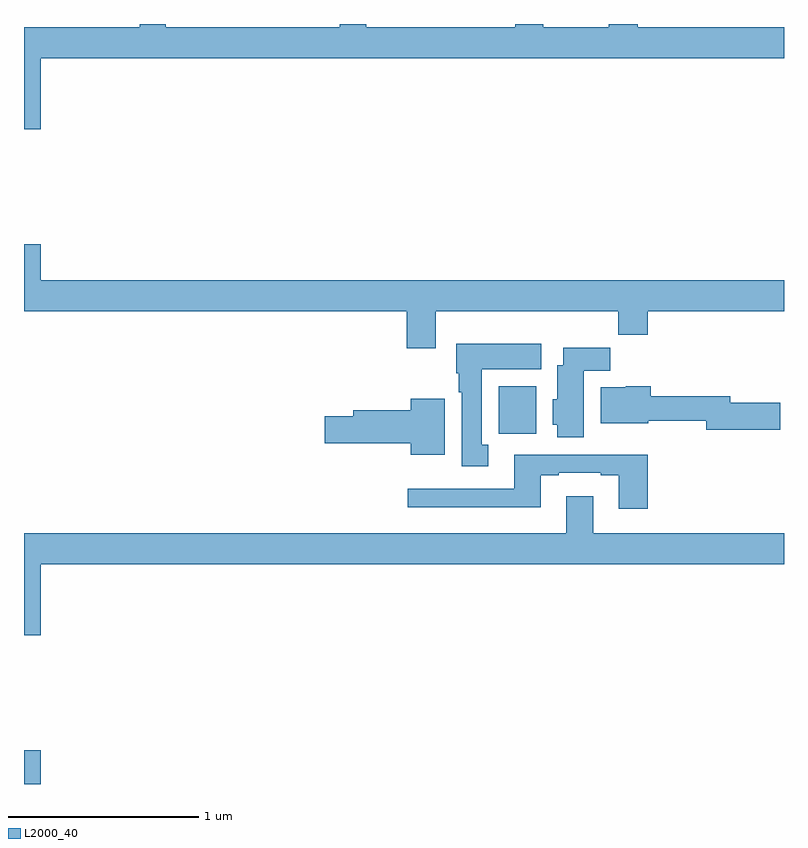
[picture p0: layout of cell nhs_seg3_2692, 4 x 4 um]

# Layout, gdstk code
import gdstk
lib = gdstk.Library(unit=1e-6, precision=1e-09)
def R(c, l, rs):  # rectangles x0, y0, x1, y1
    for r in rs: c.add(gdstk.rectangle(r[:2], r[2:], *l))
def P(c, l, *ps):  # polygons
    for p in ps: c.add(gdstk.Polygon(p, *l))
L2000_40 = (2000, 40)

nhs_seg3_2692 = lib.new_cell('nhs_seg3_2692')
R(nhs_seg3_2692, L2000_40, [(249,726.4,249.088,726.577), (251.499,728.244,251.695,728.494)])
P(nhs_seg3_2692, L2000_40, [(249.088,730.22),(253,730.22),(253,730.384),(252.23,730.384),(252.23,730.4),(252.077,730.4),(252.077,730.384),(251.733,730.384),(251.733,730.4),(251.585,730.4),(251.585,730.384),(250.801,730.384),(250.801,730.4),(250.661,730.4),(250.661,730.384),(249.747,730.384),(249.747,730.4),(249.609,730.4),(249.609,730.384),(249,730.384),(249,729.846),(249.088,729.846)],
  [(251.167,728.888),(252.127,728.888),(252.127,728.764),(252.284,728.764),(252.284,728.888),(253,728.888),(253,729.052),(249.088,729.052),(249.088,729.241),(249,729.241),(249,728.888),(251.015,728.888),(251.015,728.694),(251.167,728.694)],
  [(251.443,728.185),(251.41,728.185),(251.41,728.582),(251.722,728.582),(251.722,728.716),(251.276,728.716),(251.276,728.562),(251.288,728.562),(251.288,728.462),(251.303,728.462),(251.303,728.073),(251.443,728.073)],
  [(251.947,728.576),(252.086,728.576),(252.086,728.695),(251.837,728.695),(251.837,728.605),(251.807,728.605),(251.807,728.424),(251.783,728.424),(251.783,728.292),(251.807,728.292),(251.807,728.225),(251.947,728.225)],
  [(252.979,728.406),(252.718,728.406),(252.718,728.44),(252.299,728.44),(252.299,728.494),(252.168,728.494),(252.168,728.488),(252.035,728.488),(252.035,728.3),(252.286,728.3),(252.286,728.311),(252.59,728.311),(252.59,728.264),(252.979,728.264)],
  [(251.215,728.428),(251.036,728.428),(251.036,728.366),(250.733,728.366),(250.733,728.336),(250.584,728.336),(250.584,728.194),(251.036,728.194),(251.036,728.132),(251.215,728.132)],
  [(252.284,728.134),(252.039,728.134),(252.039,728.133),(251.579,728.133),(251.579,727.953),(251.019,727.953),(251.019,727.856),(251.719,727.856),(251.719,728.025),(251.815,728.025),(251.815,728.037),(252.035,728.037),(252.035,728.025),(252.131,728.025),(252.131,727.848),(252.284,727.848)],
  [(249.088,727.556),(253,727.556),(253,727.72),(251.995,727.72),(251.995,727.915),(251.855,727.915),(251.855,727.72),(249,727.72),(249,727.182),(249.088,727.182)])

lib.write_gds('nhs_seg3_2692.gds')
